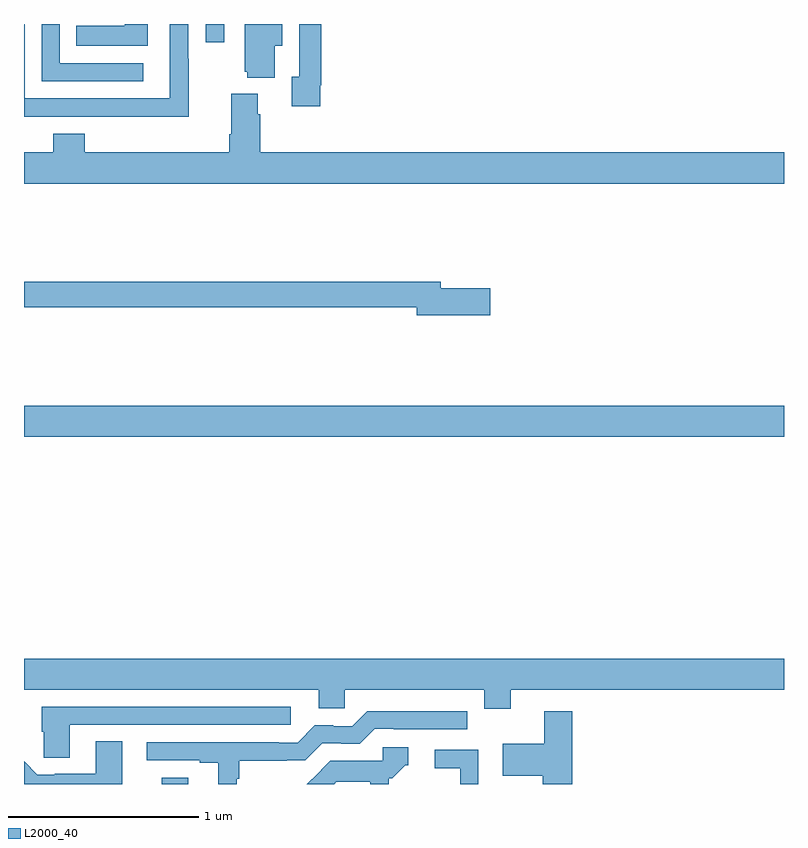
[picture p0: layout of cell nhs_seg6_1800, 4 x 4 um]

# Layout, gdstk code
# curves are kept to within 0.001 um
import gdstk
lib = gdstk.Library(unit=1e-6, precision=1e-09)
def R(c, l, rs):  # rectangles x0, y0, x1, y1
    for r in rs: c.add(gdstk.rectangle(r[:2], r[2:], *l))
def P(c, l, *ps):  # polygons
    for p in ps: c.add(gdstk.Polygon(p, *l))
L2000_40 = (2000, 40)

nhs_seg6_1800 = lib.new_cell('nhs_seg6_1800')
R(nhs_seg6_1800, L2000_40, [(219.725,953.5,219.865,953.533), (219,955.328,223,955.492), (219.957,957.405,220.053,957.5)])
P(nhs_seg6_1800, L2000_40, [(220.558,957.178),(220.565,957.178),(220.565,957.5),(220.449,957.5),(220.449,957.222),(220.409,957.222),(220.409,957.066),(220.558,957.066)],
  [(219.628,957.294),(219.189,957.294),(219.189,957.5),(219.093,957.5),(219.093,957.198),(219.628,957.198)],
  [(219.652,957.5),(219.531,957.5),(219.531,957.49),(219.274,957.49),(219.274,957.386),(219.652,957.386)],
  [(220.321,957.386),(220.36,957.386),(220.36,957.5),(220.163,957.5),(220.163,957.249),(220.175,957.249),(220.175,957.218),(220.321,957.218)],
  [(219.867,957.317),(219.864,957.317),(219.864,957.5),(219.768,957.5),(219.768,957.108),(219.003,957.108),(219.003,957.5),(219,957.5),(219,957.012),(219.403,957.012),(219.403,957.011),(219.867,957.011)],
  [(223,956.824),(220.244,956.824),(220.244,957.026),(220.231,957.026),(220.231,957.133),(220.091,957.133),(220.091,956.92),(220.079,956.92),(220.079,956.824),(219.32,956.824),(219.32,956.923),(219.155,956.923),(219.155,956.824),(219,956.824),(219,956.66),(223,956.66)],
  [(221.455,956.108),(221.194,956.108),(221.194,956.144),(219,956.144),(219,956.008),(221.066,956.008),(221.066,955.966),(221.455,955.966)],
  [(219,953.996),(220.55,953.996),(220.55,953.898),(220.689,953.898),(220.689,953.996),(221.423,953.996),(221.423,953.897),(221.563,953.897),(221.563,953.996),(223,953.996),(223,954.16),(219,954.16)],
  [(219.241,953.811),(220.405,953.811),(220.405,953.907),(219.094,953.907),(219.094,953.775),(219.103,953.775),(219.103,953.638),(219.241,953.638)],
  [(220.119,953.528),(220.132,953.528),(220.132,953.622),(220.382,953.622),(220.382,953.625),(220.479,953.625),(220.569,953.715),(220.67,953.715),(220.67,953.712),(220.767,953.712),(220.845,953.79),(220.945,953.79),(220.945,953.787),(221.332,953.787),(221.332,953.883),(220.807,953.884),(220.728,953.805),(220.628,953.805),(220.628,953.808),(220.53,953.808),(220.44,953.718),(220.34,953.718),(220.34,953.721),(219.645,953.721),(219.645,953.625),(219.926,953.625),(219.926,953.613),(220.022,953.613),(220.022,953.5),(220.119,953.5)],
  [(221.885,953.884),(221.738,953.884),(221.738,953.713),(221.52,953.713),(221.52,953.543),(221.731,953.543),(221.731,953.5),(221.885,953.5)],
  [(219.517,953.726),(219.377,953.726),(219.377,953.553),(219.163,953.553),(219.163,953.55),(219.069,953.55),(219,953.619),(219,953.5),(219.517,953.5)],
  [(220.643,953.511),(220.822,953.511),(220.822,953.5),(220.92,953.5),(220.92,953.529),(220.938,953.529),(221.007,953.598),(221.023,953.598),(221.023,953.694),(220.887,953.694),(220.887,953.622),(220.613,953.622),(220.516,953.525),(220.515,953.526),(220.489,953.5),(220.632,953.5)],
  [(221.391,953.679),(221.163,953.679),(221.163,953.583),(221.295,953.583),(221.295,953.5),(221.391,953.5)])

lib.write_gds('nhs_seg6_1800.gds')
